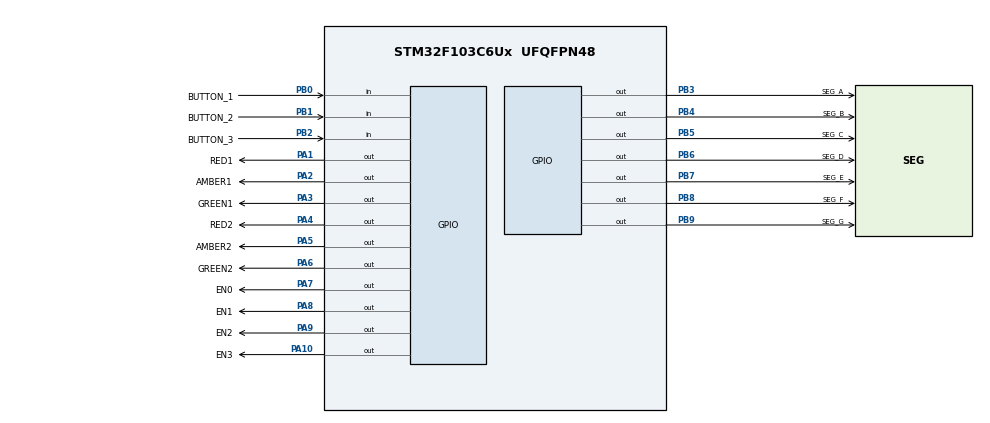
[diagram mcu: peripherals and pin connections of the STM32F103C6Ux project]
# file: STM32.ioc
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Mcu.Family=STM32F1
Mcu.Name=STM32F103C6Ux
Mcu.Package=UFQFPN48
NVIC.PriorityGroup=NVIC_PRIORITYGROUP_4
NVIC.TIM2_IRQn=true\:0\:0\:false\:false\:true\:true\:true
PA1.GPIO_Label=RED1
PA1.Signal=GPIO_Output
PA10.GPIO_Label=EN3
PA10.Signal=GPIO_Output
PA2.GPIO_Label=AMBER1
PA2.Signal=GPIO_Output
PA3.GPIO_Label=GREEN1
PA3.Signal=GPIO_Output
PA4.GPIO_Label=RED2
PA4.Signal=GPIO_Output
PA5.GPIO_Label=AMBER2
PA5.Signal=GPIO_Output
PA6.GPIO_Label=GREEN2
PA6.Signal=GPIO_Output
PA7.GPIO_Label=EN0
PA7.Signal=GPIO_Output
PA8.GPIO_Label=EN1
PA8.Signal=GPIO_Output
PA9.GPIO_Label=EN2
PA9.Signal=GPIO_Output
PB0.GPIO_Label=BUTTON_1
PB0.GPIO_PuPd=GPIO_PULLUP
PB0.Signal=GPIO_Input
PB1.GPIO_Label=BUTTON_2
PB1.GPIO_PuPd=GPIO_PULLUP
PB1.Signal=GPIO_Input
PB2.GPIO_Label=BUTTON_3
PB2.GPIO_PuPd=GPIO_PULLUP
PB2.Signal=GPIO_Input
PB3.GPIO_Label=SEG_A
PB3.Signal=GPIO_Output
PB4.GPIO_Label=SEG_B
PB4.Signal=GPIO_Output
PB5.GPIO_Label=SEG_C
PB5.Signal=GPIO_Output
PB6.GPIO_Label=SEG_D
PB6.Signal=GPIO_Output
PB7.GPIO_Label=SEG_E
PB7.Signal=GPIO_Output
PB8.GPIO_Label=SEG_F
PB8.Signal=GPIO_Output
PB9.GPIO_Label=SEG_G
PB9.Signal=GPIO_Output
ProjectManager.HeapSize=0x200
ProjectManager.StackSize=0x400
ProjectManager.TargetToolchain=STM32CubeIDE
RCC.APB1Freq_Value=8000000
RCC.APB2Freq_Value=8000000
TIM2.Period=9
TIM2.Prescaler=7999
VP_SYS_VS_ND.Mode=No_Debug
VP_TIM2_VS_ClockSourceINT.Mode=Internal
board=custom

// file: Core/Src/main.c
/* USER CODE BEGIN Header */
/**
  ******************************************************************************
  * @file           : main.c
  * @brief          : Main program body
  ******************************************************************************
  * @attention
  *
  * <h2><center>&copy; Copyright (c) 2026 STMicroelectronics.
  * All rights reserved.</center></h2>
  *
  * This software component is licensed by ST under BSD 3-Clause license,
  * the "License"; You may not use this file except in compliance with the
  * License. You may obtain a copy of the License at:
  *                        opensource.org/licenses/BSD-3-Clause
  *
  ******************************************************************************
  */
/* USER CODE END Header */
#include "main.h"

/* USER CODE BEGIN Includes */
#include "software_timer.h"
#include "button.h"
#include "traffic_light.h"
#include "fsm_automatic.h"
#include "fsm_manual.h"
#include "fsm_setting.h"
/* USER CODE END Includes */

TIM_HandleTypeDef htim2;

void SystemClock_Config(void);
static void MX_GPIO_Init(void);
static void MX_TIM2_Init(void);

int main(void)
{

  /* MCU Configuration--------------------------------------------------------*/

  /* Reset of all peripherals, Initializes the Flash interface and the Systick. */
  HAL_Init();

  /* Configure the system clock */
  SystemClock_Config();

  /* Initialize all configured peripherals */
  MX_GPIO_Init();
  MX_TIM2_Init();
  /* USER CODE BEGIN 2 */
  // Start in AUTO_R_G (status and countdowns start so in global.c)
  setLights(RED1_Pin | GREEN2_Pin);
  setTimer(TIMER_COUNTDOWN, 1000);
  setTimer(TIMER_SCAN, SCAN_PERIOD_MS);

  // 8 MHz / (7999 + 1) / (9 + 1) = 100 Hz -> 10 ms interrupt
  HAL_TIM_Base_Start_IT(&htim2);
  /* USER CODE END 2 */

  /* Infinite loop */
  while (1)
  {

    /* USER CODE BEGIN 3 */
    fsm_automatic();
    fsm_setting();
    fsm_manual();

    if (isTimerExpired(TIMER_SCAN)) {
      setTimer(TIMER_SCAN, SCAN_PERIOD_MS);
      display_scan();
    }
  }
  /* USER CODE END 3 */
}

void SystemClock_Config(void)
{
  RCC_OscInitTypeDef RCC_OscInitStruct = {0};
  RCC_ClkInitTypeDef RCC_ClkInitStruct = {0};

  /** Initializes the RCC Oscillators according to the specified parameters
  * in the RCC_OscInitTypeDef structure.
  */
  RCC_OscInitStruct.OscillatorType = RCC_OSCILLATORTYPE_HSI;
  RCC_OscInitStruct.HSIState = RCC_HSI_ON;
  RCC_OscInitStruct.HSICalibrationValue = RCC_HSICALIBRATION_DEFAULT;
  RCC_OscInitStruct.PLL.PLLState = RCC_PLL_NONE;
  if (HAL_RCC_OscConfig(&RCC_OscInitStruct) != HAL_OK)
  {
    Error_Handler();
  }
  /** Initializes the CPU, AHB and APB buses clocks
  */
  RCC_ClkInitStruct.ClockType = RCC_CLOCKTYPE_HCLK|RCC_CLOCKTYPE_SYSCLK
                              |RCC_CLOCKTYPE_PCLK1|RCC_CLOCKTYPE_PCLK2;
  RCC_ClkInitStruct.SYSCLKSource = RCC_SYSCLKSOURCE_HSI;
  RCC_ClkInitStruct.AHBCLKDivider = RCC_SYSCLK_DIV1;
  RCC_ClkInitStruct.APB1CLKDivider = RCC_HCLK_DIV1;
  RCC_ClkInitStruct.APB2CLKDivider = RCC_HCLK_DIV1;

  if (HAL_RCC_ClockConfig(&RCC_ClkInitStruct, FLASH_LATENCY_0) != HAL_OK)
  {
    Error_Handler();
  }
}

static void MX_TIM2_Init(void)
{

  TIM_ClockConfigTypeDef sClockSourceConfig = {0};
  TIM_MasterConfigTypeDef sMasterConfig = {0};

  htim2.Instance = TIM2;
  htim2.Init.Prescaler = 7999;
  htim2.Init.CounterMode = TIM_COUNTERMODE_UP;
  htim2.Init.Period = 9;
  htim2.Init.ClockDivision = TIM_CLOCKDIVISION_DIV1;
  htim2.Init.AutoReloadPreload = TIM_AUTORELOAD_PRELOAD_DISABLE;
  if (HAL_TIM_Base_Init(&htim2) != HAL_OK)
  {
    Error_Handler();
  }
  sClockSourceConfig.ClockSource = TIM_CLOCKSOURCE_INTERNAL;
  if (HAL_TIM_ConfigClockSource(&htim2, &sClockSourceConfig) != HAL_OK)
  {
    Error_Handler();
  }
  sMasterConfig.MasterOutputTrigger = TIM_TRGO_RESET;
  sMasterConfig.MasterSlaveMode = TIM_MASTERSLAVEMODE_DISABLE;
  if (HAL_TIMEx_MasterConfigSynchronization(&htim2, &sMasterConfig) != HAL_OK)
  {
    Error_Handler();
  }

}

static void MX_GPIO_Init(void)
{
  GPIO_InitTypeDef GPIO_InitStruct = {0};

  /* GPIO Ports Clock Enable */
  __HAL_RCC_GPIOA_CLK_ENABLE();
  __HAL_RCC_GPIOB_CLK_ENABLE();

  /*Configure GPIO pin Output Level */
  HAL_GPIO_WritePin(GPIOA, RED1_Pin|AMBER1_Pin|GREEN1_Pin|RED2_Pin
                          |AMBER2_Pin|GREEN2_Pin|EN0_Pin|EN1_Pin
                          |EN2_Pin|EN3_Pin, GPIO_PIN_RESET);

  /*Configure GPIO pin Output Level */
  HAL_GPIO_WritePin(GPIOB, SEG_A_Pin|SEG_B_Pin|SEG_C_Pin|SEG_D_Pin
                          |SEG_E_Pin|SEG_F_Pin|SEG_G_Pin, GPIO_PIN_RESET);

  /*Configure GPIO pins : RED1_Pin AMBER1_Pin GREEN1_Pin RED2_Pin
                           AMBER2_Pin GREEN2_Pin EN0_Pin EN1_Pin
                           EN2_Pin EN3_Pin */
  GPIO_InitStruct.Pin = RED1_Pin|AMBER1_Pin|GREEN1_Pin|RED2_Pin
                          |AMBER2_Pin|GREEN2_Pin|EN0_Pin|EN1_Pin
                          |EN2_Pin|EN3_Pin;
  GPIO_InitStruct.Mode = GPIO_MODE_OUTPUT_PP;
  GPIO_InitStruct.Pull = GPIO_NOPULL;
  GPIO_InitStruct.Speed = GPIO_SPEED_FREQ_LOW;
  HAL_GPIO_Init(GPIOA, &GPIO_InitStruct);

  /*Configure GPIO pins : BUTTON_1_Pin BUTTON_2_Pin BUTTON_3_Pin */
  GPIO_InitStruct.Pin = BUTTON_1_Pin|BUTTON_2_Pin|BUTTON_3_Pin;
  GPIO_InitStruct.Mode = GPIO_MODE_INPUT;
  GPIO_InitStruct.Pull = GPIO_PULLUP;
  HAL_GPIO_Init(GPIOB, &GPIO_InitStruct);

  /*Configure GPIO pins : SEG_A_Pin SEG_B_Pin SEG_C_Pin SEG_D_Pin
                           SEG_E_Pin SEG_F_Pin SEG_G_Pin */
  GPIO_InitStruct.Pin = SEG_A_Pin|SEG_B_Pin|SEG_C_Pin|SEG_D_Pin
                          |SEG_E_Pin|SEG_F_Pin|SEG_G_Pin;
  GPIO_InitStruct.Mode = GPIO_MODE_OUTPUT_PP;
  GPIO_InitStruct.Pull = GPIO_NOPULL;
  GPIO_InitStruct.Speed = GPIO_SPEED_FREQ_LOW;
  HAL_GPIO_Init(GPIOB, &GPIO_InitStruct);

}

/* USER CODE BEGIN 4 */
// TIM2 interrupt, every 10 ms: read the buttons and run the software timers
void HAL_TIM_PeriodElapsedCallback(TIM_HandleTypeDef *htim) {
  if (htim->Instance != TIM2) return;
  getKeyInput();
  timer_Run();
}
/* USER CODE END 4 */

void Error_Handler(void)
{
  __disable_irq();
  while (1)
  {
  }
}

/************************ (C) COPYRIGHT STMicroelectronics *****END OF FILE****/
